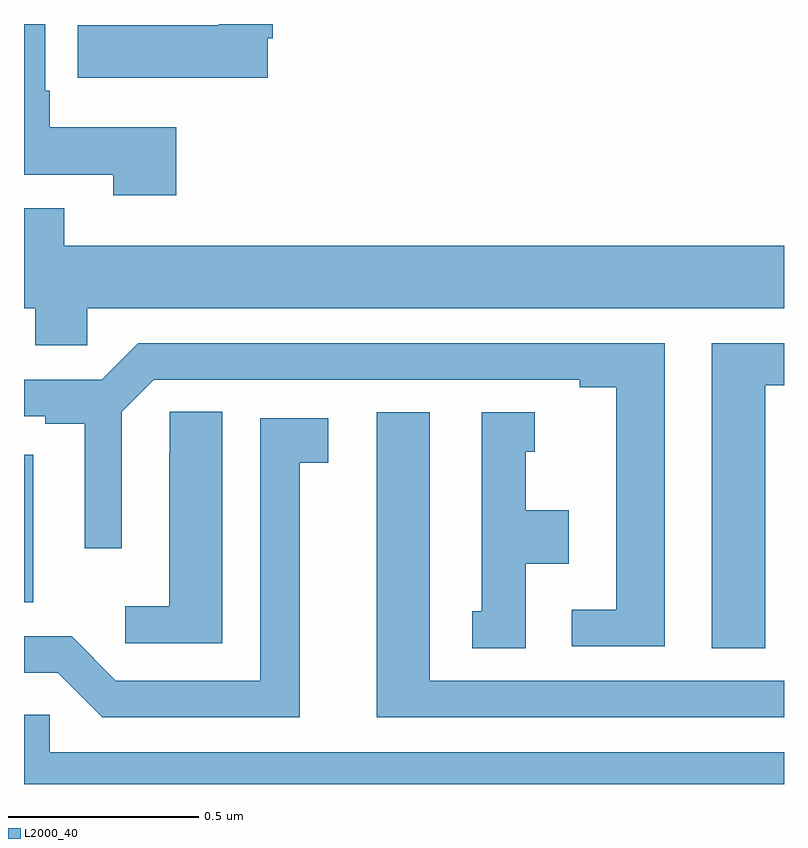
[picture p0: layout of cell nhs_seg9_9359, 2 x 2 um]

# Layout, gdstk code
import gdstk
lib = gdstk.Library(unit=1e-6, precision=1e-09)
def R(c, l, rs):  # rectangles x0, y0, x1, y1
    for r in rs: c.add(gdstk.rectangle(r[:2], r[2:], *l))
def P(c, l, *ps):  # polygons
    for p in ps: c.add(gdstk.Polygon(p, *l))
L2000_40 = (2000, 40)

nhs_seg9_9359 = lib.new_cell('nhs_seg9_9359')
R(nhs_seg9_9359, L2000_40, [(229,1196.978,229.024,1197.366)])
P(nhs_seg9_9359, L2000_40, [(229.642,1198.462),(229.655,1198.462),(229.655,1198.5),(229.513,1198.5),(229.513,1198.497),(229.141,1198.497),(229.141,1198.359),(229.249,1198.359),(229.249,1198.358),(229.642,1198.358)],
  [(229.4,1198.228),(229.068,1198.228),(229.068,1198.324),(229.056,1198.324),(229.056,1198.5),(229,1198.5),(229,1198.103),(229.235,1198.103),(229.235,1198.05),(229.4,1198.05)],
  [(229.167,1197.752),(231,1197.752),(231,1197.916),(229.106,1197.916),(229.106,1198.015),(229,1198.015),(229,1197.752),(229.029,1197.752),(229.029,1197.654),(229.167,1197.654)],
  [(230.686,1197.66),(229.301,1197.66),(229.205,1197.564),(229,1197.564),(229,1197.468),(229.056,1197.468),(229.056,1197.448),(229.16,1197.448),(229.16,1197.12),(229.257,1197.12),(229.257,1197.48),(229.341,1197.564),(230.462,1197.564),(230.462,1197.544),(230.558,1197.544),(230.558,1196.958),(230.442,1196.958),(230.442,1196.862),(230.686,1196.862)],
  [(230.95,1197.549),(231,1197.549),(231,1197.66),(230.81,1197.66),(230.81,1196.857),(230.95,1196.857)],
  [(229.522,1197.479),(229.383,1197.479),(229.383,1197.371),(229.382,1197.371),(229.382,1196.968),(229.266,1196.968),(229.266,1196.871),(229.522,1196.871)],
  [(231,1196.772),(230.068,1196.772),(230.068,1197.478),(229.928,1197.478),(229.928,1196.676),(231,1196.676)],
  [(230.32,1197.08),(230.434,1197.08),(230.434,1197.22),(230.32,1197.22),(230.32,1197.375),(230.344,1197.375),(230.344,1197.478),(230.204,1197.478),(230.204,1196.955),(230.18,1196.955),(230.18,1196.857),(230.32,1196.857)],
  [(229.726,1197.346),(229.801,1197.346),(229.801,1197.462),(229.622,1197.462),(229.622,1196.772),(229.242,1196.772),(229.125,1196.889),(229,1196.889),(229,1196.793),(229.089,1196.793),(229.206,1196.676),(229.726,1196.676)],
  [(231,1196.584),(229.068,1196.584),(229.068,1196.682),(229,1196.682),(229,1196.5),(231,1196.5)])

lib.write_gds('nhs_seg9_9359.gds')
